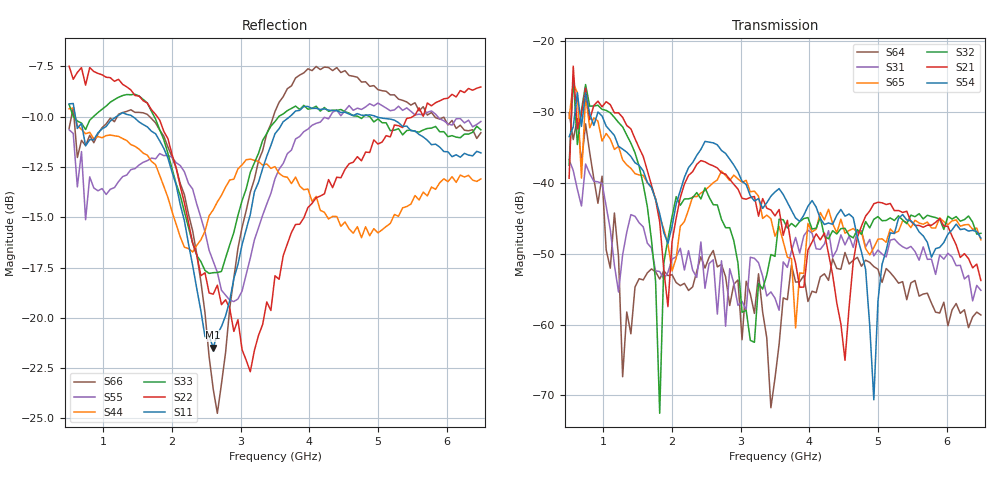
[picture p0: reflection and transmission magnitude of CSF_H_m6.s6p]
!Keysight Technologies,M9804A,MY58100912,A.14.10.03
!Date: Thursday, April 27, 2023 10:28:33
!Correction: S11(C  6-Port  )
!S12(C  6-Port  )
!S13(C  6-Port  )
!S14(C  6-Port  )
!S15(C  6-Port  )
!S16(C  6-Port  )
!S21(C  6-Port  )
!S22(C  6-Port  )
!S23(C  6-Port  )
!S24(C  6-Port  )
!S25(C  6-Port  )
!S26(C  6-Port  )
!S31(C  6-Port  )
!S32(C  6-Port  )
!S33(C  6-Port  )
!S34(C  6-Port  )
!S35(C  6-Port  )
!S36(C  6-Port  )
!S41(C  6-Port  )
!S42(C  6-Port  )
!S43(C  6-Port  )
!S44(C  6-Port  )
!S45(C  6-Port  )
!S46(C  6-Port  )
!S51(C  6-Port  )
!S52(C  6-Port  )
!S53(C  6-Port  )
!S54(C  6-Port  )
!S55(C  6-Port  )
!S56(C  6-Port  )
!S61(C  6-Port  )
!S62(C  6-Port  )
!S63(C  6-Port  )
!S64(C  6-Port  )
!S65(C  6-Port  )
!S66(C  6-Port  )
!S6P File: Measurement: :
# Hz S  RI  R 50
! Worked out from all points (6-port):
!   101 points, 500 MHz to 6.5 GHz, reference 50 ohm
!   strongest paths, dB at 500 MHz, 2 GHz, 3.5 GHz, 5 GHz, 6.5 GHz:
!     S54: -33.5, -46.1, -41.3, -56.7, -47.8
!     S21: -39.3, -48.3, -44.7, -42.7, -53.8
!     S32: -37.5, -44.8, -50.4, -44.8, -47.1
!     S65: -30.9, -52.4, -47.5, -48.0, -48.0
!     S31: -36.7, -50.8, -56.3, -49.5, -55.2
!     S64: -30.1, -53.0, -67.6, -52.2, -58.7
!   lowest |S11| = -21.5 dB at 2.6 GHz (marker M1), VSWR 1.18, Z = 42.5 + j2.2 ohm
!   |S11| at or under -10 dB: 591.8 MHz to 1.188 GHz (595.8 MHz wide, 67 % of centre); 1.429 GHz to 3.713 GHz (2.284 GHz wide, 88.8 % of centre); 4.977 GHz to end of sweep
